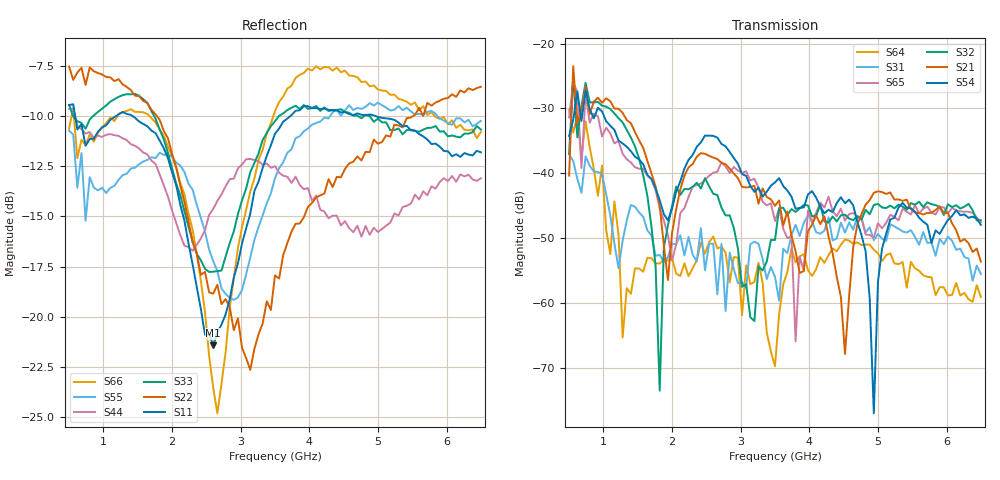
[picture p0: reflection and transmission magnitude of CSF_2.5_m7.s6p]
!Keysight Technologies,M9804A,MY58100912,A.14.10.03
!Date: Thursday, April 27, 2023 10:28:33
!Correction: S11(C  6-Port  )
!S12(C  6-Port  )
!S13(C  6-Port  )
!S14(C  6-Port  )
!S15(C  6-Port  )
!S16(C  6-Port  )
!S21(C  6-Port  )
!S22(C  6-Port  )
!S23(C  6-Port  )
!S24(C  6-Port  )
!S25(C  6-Port  )
!S26(C  6-Port  )
!S31(C  6-Port  )
!S32(C  6-Port  )
!S33(C  6-Port  )
!S34(C  6-Port  )
!S35(C  6-Port  )
!S36(C  6-Port  )
!S41(C  6-Port  )
!S42(C  6-Port  )
!S43(C  6-Port  )
!S44(C  6-Port  )
!S45(C  6-Port  )
!S46(C  6-Port  )
!S51(C  6-Port  )
!S52(C  6-Port  )
!S53(C  6-Port  )
!S54(C  6-Port  )
!S55(C  6-Port  )
!S56(C  6-Port  )
!S61(C  6-Port  )
!S62(C  6-Port  )
!S63(C  6-Port  )
!S64(C  6-Port  )
!S65(C  6-Port  )
!S66(C  6-Port  )
!S6P File: Measurement: :
# Hz S  RI  R 50
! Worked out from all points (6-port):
!   101 points, 500 MHz to 6.5 GHz, reference 50 ohm
!   strongest paths, dB at 500 MHz, 2 GHz, 3.5 GHz, 5 GHz, 6.5 GHz:
!     S54: -34.3, -45.4, -41.4, -56.8, -47.9
!     S21: -40.4, -49.2, -45.0, -42.8, -53.6
!     S32: -37.0, -45.1, -50.3, -44.7, -47.2
!     S65: -31.4, -53.5, -47.4, -47.7, -47.5
!     S31: -37.1, -50.8, -56.0, -49.4, -55.5
!     S64: -30.2, -53.1, -69.7, -52.3, -59.1
!   lowest |S11| = -21.4 dB at 2.6 GHz (marker M1), VSWR 1.19, Z = 42.5 + j2.2 ohm
!   |S11| at or under -10 dB: 589 MHz to 1.174 GHz (585.1 MHz wide, 66.4 % of centre); 1.432 GHz to 3.717 GHz (2.284 GHz wide, 88.7 % of centre); 4.979 GHz to end of sweep
